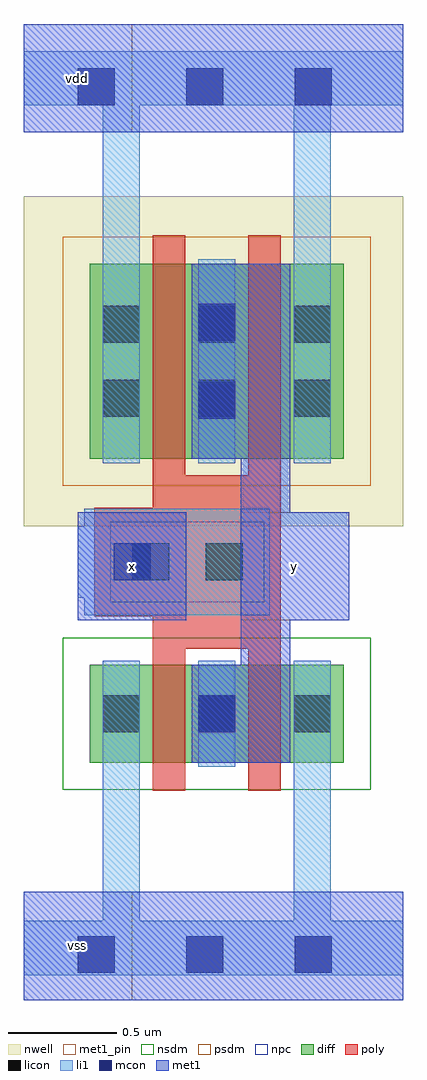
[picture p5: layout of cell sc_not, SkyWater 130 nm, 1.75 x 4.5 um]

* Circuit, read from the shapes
.subckt sc_not vdd vss x y
XM1 y x vss VSUBS sky130_fd_pr__nfet_01v8 w=0.45 l=0.15 m=2
XM2 y x vdd n1 sky130_fd_pr__pfet_01v8 w=0.9 l=0.15 m=2
.ends

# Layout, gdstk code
import gdstk
lib = gdstk.Library(unit=1e-6, precision=1e-09)
def R(c, l, rs):  # rectangles x0, y0, x1, y1
    for r in rs: c.add(gdstk.rectangle(r[:2], r[2:], *l))
def A(c, l, x, y, w, h, nx, ny, dx, dy):  # array of equal rectangles
    R(c, l, [(x+i*dx, y+j*dy, x+i*dx+w, y+j*dy+h) for i in range(nx) for j in range(ny)])
nwell = (64, 20)
diff = (65, 20)
poly = (66, 20)
licon = (66, 44)
li1 = (67, 20)
mcon = (67, 44)
met1_pin = (68, 16)
met1 = (68, 20)
nsdm = (93, 44)
psdm = (94, 20)
npc = (95, 20)

sky130_fd_pr__pfet_01v8_ = lib.new_cell('sky130_fd_pr__pfet_01v8_scc_inv_m1')
R(sky130_fd_pr__pfet_01v8_, nwell, [(6.85,-4.65,8.38,-3.13)])
R(sky130_fd_pr__pfet_01v8_, diff, [(7.03,-4.34,8.2,-3.44)])
R(sky130_fd_pr__pfet_01v8_, poly, [(7.32,-4.565,7.91,-4.415), (7.32,-4.415,7.47,-3.31), (7.76,-4.415,7.91,-3.31)])
A(sky130_fd_pr__pfet_01v8_, licon, 7.09, -4.145, 0.17, 0.17, 3, 2, 0.44, 0.34)
A(sky130_fd_pr__pfet_01v8_, li1, 7.09, -4.36, 0.17, 0.94, 3, 1, 0.44, 0)
R(sky130_fd_pr__pfet_01v8_, mcon, [(7.53,-4.155,7.7,-3.985), (7.53,-3.795,7.7,-3.625)])
R(sky130_fd_pr__pfet_01v8_, met1, [(7.5,-4.34,7.73,-3.44)])
R(sky130_fd_pr__pfet_01v8_, psdm, [(6.905,-4.465,8.325,-3.315)])
sky130_fd_pr__pfet_01v8_.add(gdstk.Label('D0', (7.615,-3.89), layer=67, texttype=5))
sky130_fd_pr__pfet_01v8_.add(gdstk.Label('S0', (7.175,-3.89), layer=67, texttype=5))
sky130_fd_pr__pfet_01v8_.add(gdstk.Label('D1', (7.615,-3.89), layer=67, texttype=5))
sky130_fd_pr__pfet_01v8_.add(gdstk.Label('S1', (8.055,-3.89), layer=67, texttype=5))

sky130_fd_pr__nfet_01v8_ = lib.new_cell('sky130_fd_pr__nfet_01v8_scc_inv_m2')
R(sky130_fd_pr__nfet_01v8_, diff, [(7.265,-4.22,8.435,-3.77)])
R(sky130_fd_pr__nfet_01v8_, poly, [(7.555,-4.35,7.705,-3.695), (7.995,-4.35,8.145,-3.695), (7.555,-3.695,8.145,-3.545)])
A(sky130_fd_pr__nfet_01v8_, licon, 7.325, -4.08, 0.17, 0.17, 3, 1, 0.44, 0)
A(sky130_fd_pr__nfet_01v8_, li1, 7.325, -4.24, 0.17, 0.49, 3, 1, 0.44, 0)
R(sky130_fd_pr__nfet_01v8_, mcon, [(7.765,-4.08,7.935,-3.91)])
R(sky130_fd_pr__nfet_01v8_, met1, [(7.735,-4.22,7.965,-3.77)])
R(sky130_fd_pr__nfet_01v8_, nsdm, [(7.14,-4.345,8.56,-3.645)])
sky130_fd_pr__nfet_01v8_.add(gdstk.Label('D0', (7.85,-3.995), layer=67, texttype=5))
sky130_fd_pr__nfet_01v8_.add(gdstk.Label('S0', (7.41,-3.995), layer=67, texttype=5))
sky130_fd_pr__nfet_01v8_.add(gdstk.Label('D1', (7.85,-3.995), layer=67, texttype=5))
sky130_fd_pr__nfet_01v8_.add(gdstk.Label('S1', (8.29,-3.995), layer=67, texttype=5))

sc_not = lib.new_cell('sc_not')
R(sc_not, nwell, [(2.75,-3.815,4.5,-2.295)])
R(sc_not, poly, [(3.075,-4.23,3.935,-3.73)])
R(sc_not, licon, [(3.25,-4.065,3.42,-3.895), (3.59,-4.065,3.76,-3.895)])
R(sc_not, li1, [(2.75,-5.885,4.5,-5.635), (3.115,-5.635,3.285,-4.925), (3.995,-5.635,4.165,-4.925), (3.03,-4.225,3.885,-4.145), (3,-4.145,3.885,-3.815), (3.03,-3.815,3.885,-3.735), (3.115,-2.585,3.285,-1.875), (3.995,-2.585,4.165,-1.875), (2.75,-1.875,4.5,-1.625)])
A(sc_not, mcon, 3, -5.875, 0.17, 0.17, 3, 2, 0.5, 4)
R(sc_not, mcon, [(3.165,-4.065,3.335,-3.895)])
R(sc_not, met1_pin, [(2.75,-6,3.25,-5.5), (3,-4.25,3.5,-3.75), (3.75,-4.25,4.25,-3.75), (2.75,-2,3.25,-1.5)])
R(sc_not, met1, [(2.75,-6,4.5,-5.5), (3.75,-4.905,3.98,-4.25), (3,-4.25,3.5,-3.75), (3.75,-4.25,4.25,-3.75), (3.75,-3.75,3.98,-2.605), (2.75,-2,4.5,-1.5)])
R(sc_not, npc, [(3.15,-4.165,3.86,-3.795)])
sc_not.add(gdstk.Reference(sky130_fd_pr__pfet_01v8_, (-3.975,0.835)))
sc_not.add(gdstk.Reference(sky130_fd_pr__nfet_01v8_, (-4.21,-0.685)))
sc_not.add(gdstk.Label('vdd', (3,-1.75), layer=68, texttype=5))
sc_not.add(gdstk.Label('vss', (3,-5.75), layer=68, texttype=5))
sc_not.add(gdstk.Label('x', (3.25,-4), layer=68, texttype=5))
sc_not.add(gdstk.Label('y', (4,-4), layer=68, texttype=5))

lib.write_gds('sc_not.gds')
